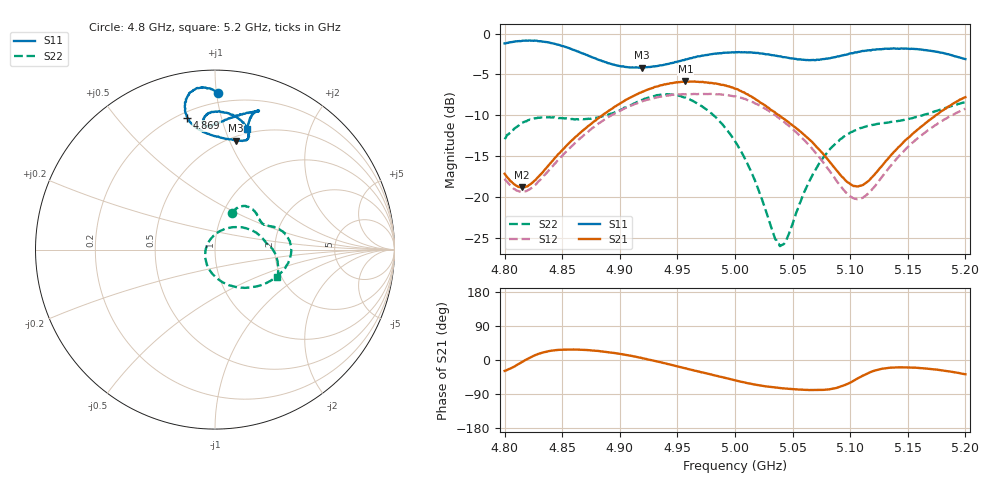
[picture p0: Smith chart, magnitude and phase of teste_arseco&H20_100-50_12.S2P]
! Network Analyzer HP8722D
! Hewlett-Packard
! Data name: Linha & Wilkinson
! Saver's name: Rodrigo Anjos
! Comments: Teste da utilização de aquisição
! continua pelo VNA HP8722D
! Time and date: 6/5/2025 12:40
!  Frequency  S11  S21  S12  S22
# HZ  S  MA R 50
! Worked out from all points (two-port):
!   401 points, 4.8 GHz to 5.2 GHz, reference 50 ohm
!   highest |S21| = -5.85 dB at 4.957 GHz (marker M1); lowest = -18.9 dB at 4.815 GHz (marker M2)
!   |S21| within 3 dB of the highest: 4.897 GHz to 5.026 GHz (129.4 MHz wide, 2.61 % of centre); 5.186581 GHz to end of sweep
!   lowest |S11| = -4.2 dB at 4.919 GHz (marker M3), VSWR 4.24, Z = 26.9 + j53 ohm
!   |S11| at or under -10 dB: nowhere
!   |S22| runs from -26.1 to -7.4 dB; largest |S21 - S12| = 0.88
!   S11 on the Smith chart (normalised r, x): 4.8 GHz: 0.14, +1.01; 4.869 GHz: 0.23, +0.79; 5.2 GHz: 0.46, +1.20
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4.8e9  0.8706 88.8  0.1384 -28.8  0.129 99.6  0.2255 64.9
4.815e9  0.9026 93.2  0.114 -5.6  0.1073 119.8  0.2834 58.5
4.845e9  0.8605 100.5  0.1769 26.2  0.1637 150.8  0.3052 40.3
4.867e9  0.7592 102.0  0.2514 26.7  0.232 154.7  0.3 30.9
4.869e9  0.7503 101.8  0.2583 26.5  0.2394 154.7  0.2989 30.5
4.896e9  0.6414 92.5  0.3577 18.2  0.3251 149.0  0.3306 23.4
4.919e9  0.6183 79.0  0.4382 5.4  0.3826 139.6  0.3917 14.9
4.934e9  0.6363 73.9  0.4777 -5.1  0.4096 131.3  0.4205 4.8
4.957e9  0.6949 75.0  0.51 -21.8  0.4255 116.7  0.4055 -14.4
4.981e9  0.7495 81.2  0.4961 -39.8  0.4261 101.3  0.3171 -39.4
5e9  0.7684 87.6  0.4601 -53.6  0.4134 88.0  0.2184 -66.5
5.02e9  0.7617 92.9  0.3872 -66.2  0.3669 74.2  0.1122 -107.8
5.033e9  0.7369 94.7  0.3349 -71.9  0.3229 67.1  0.0604 -155.1
5.039e9  0.7251 95.2  0.313 -74.0  0.3001 64.6  0.04979 168.1
5.045e9  0.7133 95.6  0.2917 -75.6  0.278 62.3  0.05534 129.7
5.067e9  0.6888 93.1  0.2166 -79.3  0.1971 58.5  0.1345 61.2
5.084e9  0.7121 87.4  0.1581 -76.3  0.138 63.2  0.2011 37.5
5.104e9  0.7677 79.5  0.1165 -52.9  0.09719 90.1  0.2547 19.8
5.115e9  0.7897 75.7  0.1236 -35.3  0.1038 110.0  0.2716 13.8
5.134e9  0.8061 72.7  0.175 -20.5  0.1512 126.3  0.2861 7.8
5.171e9  0.7828 74.3  0.3036 -24.0  0.2659 121.7  0.3293 -1.8
5.2e9  0.6982 75.0  0.4076 -37.7  0.3471 110.6  0.3802 -23.8
